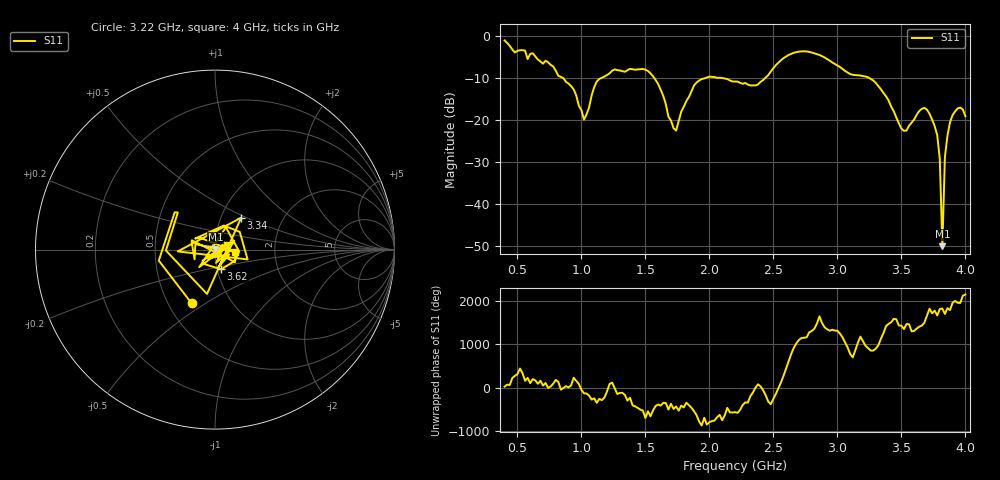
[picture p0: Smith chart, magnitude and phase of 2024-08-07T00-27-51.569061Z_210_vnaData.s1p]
!Created with skrf (http://scikit-rf.org).
# Hz S RI R 50.0
!freq ReS11 ImS11
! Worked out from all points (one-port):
!   181 points, 400 MHz to 4 GHz, reference 50 ohm
!   lowest |S11| = -50.0 dB at 3.82 GHz (marker M1), VSWR 1.01, Z = 50.3 + j0.15 ohm
!   |S11| at or under -10 dB: 1.567 GHz to 1.979 GHz (412.3 MHz wide, 23.3 % of centre); 2.054 GHz to 2.439 GHz (385.3 MHz wide, 17.2 % of centre); 3.244 GHz to end of sweep (the widest 3 of 4)
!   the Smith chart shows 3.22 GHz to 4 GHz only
!   S11 on the Smith chart (normalised r, x): 3.22 GHz: 0.65, -0.44; 3.34 GHz: 1.24, +0.47; 3.62 GHz: 1.04, -0.23; 4 GHz: 1.25, -0.03
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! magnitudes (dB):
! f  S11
! 400 MHz  -1.2
! 860 MHz  -10.1
! 940 MHz  -12.8
! 1.02 GHz  -20.0
! 1.12 GHz  -10.9
! 1.3 GHz  -8.3
! 1.52 GHz  -8.4
! 1.6 GHz  -11.5
! 1.72 GHz  -22.0
! 1.76 GHz  -20.4
! 1.92 GHz  -10.7
! 2.2 GHz  -10.9
! 2.38 GHz  -11.6
! 2.66 GHz  -4.1
! 3.1 GHz  -9.2
! 3.22 GHz  -9.7
! 3.34 GHz  -12.8
! 3.5 GHz  -22.1
! 3.56 GHz  -21.4
! 3.62 GHz  -18.8
! 3.7 GHz  -17.6
! 3.78 GHz  -23.7
! 3.8 GHz  -29.3
! 3.82 GHz  -50.0
! 3.84 GHz  -28.8
! 3.86 GHz  -23.8
! 3.94 GHz  -17.3
! 4 GHz  -19.2
